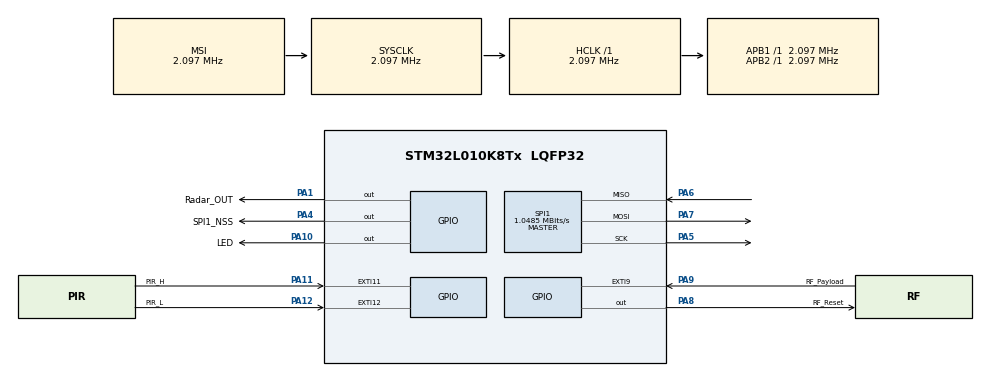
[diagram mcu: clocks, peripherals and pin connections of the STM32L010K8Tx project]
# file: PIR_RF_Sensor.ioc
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Mcu.Family=STM32L0
Mcu.Name=STM32L010K8Tx
Mcu.Package=LQFP32
NVIC.EXTI4_15_IRQn=true\:1\:0\:true\:false\:true\:true\:true\:true
NVIC.SPI1_IRQn=true\:0\:0\:false\:true\:true\:1\:true\:true\:true
NVIC.TIM2_IRQn=true\:1\:0\:true\:true\:true\:2\:true\:true\:true
PA1.GPIO_Label=Radar_OUT
PA1.Signal=GPIO_Output
PA10.GPIO_Label=LED
PA10.Signal=GPIO_Output
PA11.GPIO_Label=PIR_H
PA11.GPIO_ModeDefaultEXTI=GPIO_MODE_IT_RISING_FALLING
PA11.Signal=GPXTI11
PA12.GPIO_Label=PIR_L
PA12.GPIO_ModeDefaultEXTI=GPIO_MODE_IT_RISING_FALLING
PA12.Signal=GPXTI12
PA13.Mode=Serial_Wire
PA13.Signal=SYS_SWDIO
PA14.Mode=Serial_Wire
PA14.Signal=SYS_SWCLK
PA4.GPIO_Label=SPI1_NSS
PA4.Signal=GPIO_Output
PA5.Mode=Full_Duplex_Master
PA5.Signal=SPI1_SCK
PA6.Mode=Full_Duplex_Master
PA6.Signal=SPI1_MISO
PA7.Mode=Full_Duplex_Master
PA7.Signal=SPI1_MOSI
PA8.GPIO_Label=RF_Reset
PA8.Signal=GPIO_Output
PA9.GPIO_Label=RF_Payload
PA9.GPIO_ModeDefaultEXTI=GPIO_MODE_IT_RISING
PA9.Signal=GPXTI9
ProjectManager.HeapSize=0x200
ProjectManager.StackSize=0x400
ProjectManager.TargetToolchain=STM32CubeIDE
RCC.AHBFreq_Value=2097000
RCC.APB1Freq_Value=2097000
RCC.APB1TimFreq_Value=2097000
RCC.APB2Freq_Value=2097000
RCC.APB2TimFreq_Value=2097000
RCC.HSI16_VALUE=16000000
RCC.HSI_VALUE=16000000
RCC.LSE_VALUE=32768
RCC.MSI_VALUE=2097000
RCC.SYSCLKFreq_VALUE=2097000
RCC.Usart2ClockSelection=RCC_USART2CLKSOURCE_HSI
RCC.VCOOutputFreq_Value=48000000
SPI1.BaudRatePrescaler=SPI_BAUDRATEPRESCALER_2
SPI1.CalculateBaudRate=1.0485 MBits/s
SPI1.Direction=SPI_DIRECTION_2LINES
SPI1.Mode=SPI_MODE_MASTER
SPI1.VirtualType=VM_MASTER
VP_TIM2_VS_ClockSourceINT.Mode=Internal
board=custom

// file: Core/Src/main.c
/* USER CODE BEGIN Header */
/**
  ******************************************************************************
  * @file           : main.c
  * @brief          : Main program body
  ******************************************************************************
  * @attention
  *
  * Copyright (c) 2023 STMicroelectronics.
  * All rights reserved.
  *
  * This software is licensed under terms that can be found in the LICENSE file
  * in the root directory of this software component.
  * If no LICENSE file comes with this software, it is provided AS-IS.
  *
  ******************************************************************************
  */
/* USER CODE END Header */
#include "main.h"
#include "spi.h"
#include "tim.h"
#include "gpio.h"

/* USER CODE BEGIN Includes */
#include "RFM69.h"
#include "PIR.h"
/* USER CODE END Includes */

/* USER CODE BEGIN PV */
//RFM69
uint8_t deviceType = 0;
uint8_t RFMinit = 0;
uint8_t RFMMessageOK = 0;
RFM69Stats_t RFStats;

//PIR
PIR_Event PIR[MAX_NUM_OF_EVENTS];
PIR_Occurance PIR_instance;
/* USER CODE END PV */

void SystemClock_Config(void);
static void MX_NVIC_Init(void);

int main(void)
{

  /* MCU Configuration--------------------------------------------------------*/

  /* Reset of all peripherals, Initializes the Flash interface and the Systick. */
  HAL_Init();

  /* Configure the system clock */
  SystemClock_Config();

  /* Initialize all configured peripherals */
  MX_GPIO_Init();
  MX_SPI1_Init();
  MX_TIM2_Init();

  /* Initialize interrupts */
  MX_NVIC_Init();
  /* USER CODE BEGIN 2 */
  SPIInit(&hspi1);
  if(RFM69_initialize(RF69_868MHZ, 2, 1, &RFStats)){
	 RFMinit = 1;
	 RFM69_sendMsg("RFi=1", true);
  }
  deviceType = RFM69_readReg(0x10);
  PIR_init();
  /* USER CODE END 2 */

  /* Infinite loop */
  /* USER CODE BEGIN WHILE */
  while (1)
  {
	  //Żeby nie było ujemnego miejsca w tabeli poniżej
	  if(PIR_instance.PIR_numOfEvents>0){
		  //Check if timeout on PIR
		  if(PIR_endOfMovement(&PIR[PIR_instance.PIR_numOfEvents-1])
			  || PIR_counterLimit(&PIR_instance)){
			  PIR_IRQstate(0);
			  //Calc movement duration
			  PIR_instance.PIR_movementDuration = HAL_GetTick() - PIR[0].PIR_start;
			  //HAL_GPIO_WritePin(LED_GPIO_Port, LED_Pin, GPIO_PIN_RESET);
			  //Send info to ESP
			  if(!PIR_sendRF(&PIR_instance, PIR)){
				  RFM69_sendMsg("Sent failed", false);
			  }
			  uint32_t RFdebounce = HAL_GetTick();
			  PIR_reset(&PIR_instance);
			  for(int i=0; i<20; i++){
				  memset(&PIR[i], 0, sizeof(PIR_Event));
			  }
			  //Prevent noise from RF
			  while((!HAL_GPIO_ReadPin(PIR_H_GPIO_Port, PIR_H_Pin)
					  && !HAL_GPIO_ReadPin(PIR_L_GPIO_Port, PIR_L_Pin))
					  || HAL_GetTick() - RFdebounce <= 500);
			  PIR_IRQstate(1);
		  }
	  }
	  LED_MotionBlink();
    /* USER CODE END WHILE */

  }
}

void SystemClock_Config(void)
{
  RCC_OscInitTypeDef RCC_OscInitStruct = {0};
  RCC_ClkInitTypeDef RCC_ClkInitStruct = {0};

  /** Configure the main internal regulator output voltage
  */
  __HAL_PWR_VOLTAGESCALING_CONFIG(PWR_REGULATOR_VOLTAGE_SCALE1);

  /** Initializes the RCC Oscillators according to the specified parameters
  * in the RCC_OscInitTypeDef structure.
  */
  RCC_OscInitStruct.OscillatorType = RCC_OSCILLATORTYPE_MSI;
  RCC_OscInitStruct.MSIState = RCC_MSI_ON;
  RCC_OscInitStruct.MSICalibrationValue = 0;
  RCC_OscInitStruct.MSIClockRange = RCC_MSIRANGE_5;
  RCC_OscInitStruct.PLL.PLLState = RCC_PLL_NONE;
  if (HAL_RCC_OscConfig(&RCC_OscInitStruct) != HAL_OK)
  {
    Error_Handler();
  }

  /** Initializes the CPU, AHB and APB buses clocks
  */
  RCC_ClkInitStruct.ClockType = RCC_CLOCKTYPE_HCLK|RCC_CLOCKTYPE_SYSCLK
                              |RCC_CLOCKTYPE_PCLK1|RCC_CLOCKTYPE_PCLK2;
  RCC_ClkInitStruct.SYSCLKSource = RCC_SYSCLKSOURCE_MSI;
  RCC_ClkInitStruct.AHBCLKDivider = RCC_SYSCLK_DIV1;
  RCC_ClkInitStruct.APB1CLKDivider = RCC_HCLK_DIV1;
  RCC_ClkInitStruct.APB2CLKDivider = RCC_HCLK_DIV1;

  if (HAL_RCC_ClockConfig(&RCC_ClkInitStruct, FLASH_LATENCY_0) != HAL_OK)
  {
    Error_Handler();
  }
}

/**
  * @brief NVIC Configuration.
  * @retval None
  */
static void MX_NVIC_Init(void)
{
  /* SPI1_IRQn interrupt configuration */
  HAL_NVIC_SetPriority(SPI1_IRQn, 0, 0);
  HAL_NVIC_EnableIRQ(SPI1_IRQn);
  /* TIM2_IRQn interrupt configuration */
  HAL_NVIC_SetPriority(TIM2_IRQn, 1, 0);
  HAL_NVIC_EnableIRQ(TIM2_IRQn);
}

/* USER CODE BEGIN 4 */
void HAL_GPIO_EXTI_Callback(uint16_t GPIO_Pin)
{
	//if(GPIO_Pin == RF_Payload_Pin && checkInterruptStatus())
	if(GPIO_Pin == RF_Payload_Pin)
	{
		RFM69_ISRRx();
	}
	if((GPIO_Pin == PIR_H_Pin || GPIO_Pin == PIR_L_Pin) && PIR_IRQEnabled())
	{
		if(HAL_GPIO_ReadPin(GPIOA, GPIO_Pin)){
			PIR_DetectionCallback(GPIO_Pin, PIR_RISING, &PIR[PIR_instance.PIR_numOfEvents], &PIR_instance, HAL_GetTick());
		} else {
			PIR_DetectionCallback(GPIO_Pin, PIR_FALLING, &PIR[PIR_instance.PIR_numOfEvents], &PIR_instance, HAL_GetTick());
		}
	}
}
/* USER CODE END 4 */

void Error_Handler(void)
{
  __disable_irq();
  while (1)
  {
  }
}
